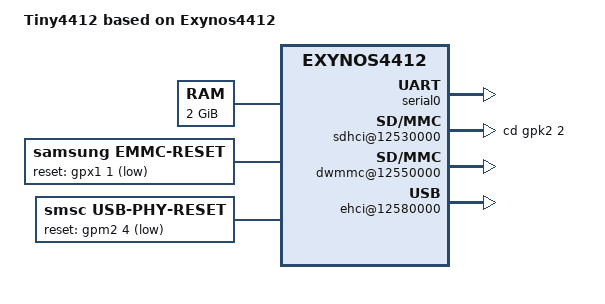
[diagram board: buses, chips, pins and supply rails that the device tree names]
/*
 * Odroid-U3/X2 board device tree source
 *
 * Copyright (c) 2014 Samsung Electronics Co., Ltd.
 *		http://www.samsung.com
 *
 * SPDX-License-Identifier:	GPL-2.0+
 */

/dts-v1/;
#include "exynos4412.dtsi"
#include <dt-bindings/gpio/gpio.h>

/ {
        model = "Tiny4412 based on Exynos4412";
        compatible = "samsung,tiny4412", "samsung,exynos4412";

        chosen {
                stdout-path = "serial0";
        };

	memory {
		reg = <0x40000000 0x80000000>;
	};


        aliases {
                serial0 = "/serial@13800000";
                console = "/serial@13800000";
		mmc2 = "/sdhci@12530000";
		mmc4 = "/dwmmc@12550000";
        };

        serial0:serial@13810000 {
                status = "okay";
        };

        
	sdhci@12530000 {
                compatible = "samsung,exynos4412-sdhci";
                samsung,bus-width = <4>;
                samsung,timing = <1 2 3>;
                cd-gpios = <&gpk2 2 0>;
        };

	dwmmc@12550000 {
		compatible = "samsung,exynos4412-dw-mshc";
		samsung,bus-width = <8>;
		samsung,timing = <2 1 0>;
		samsung,removable = <0>;
		fifoth_val = <0x203f0040>;
		bus_hz = <400000000>;
		div = <0x3>;
		index = <4>;
	};

	 emmc-reset {
		compatible = "samsung,emmc-reset";
		reset-gpio = <&gpx1 1 GPIO_ACTIVE_LOW>;
	};

	ehci@12580000 {
		compatible = "samsung,exynos-ehci";
		reg = <0x12580000 0x100>;               
		#address-cells = <1>;
		#size-cells = <1>;
		phy {
			compatible = "samsung,exynos-usb-phy";
			reg = <0x125B0000 0x100>;
		};
	};

	usb-phy-reset {
		compatible = "smsc,usb-phy-reset";
		reset-gpio = <&gpm2 4 GPIO_ACTIVE_LOW>;
	};
};
